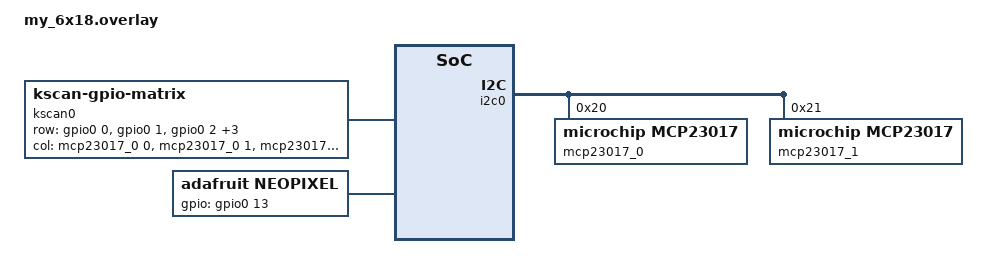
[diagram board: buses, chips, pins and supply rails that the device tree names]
/ {
    compatible = "zmk,keyboard-shield";

    chosen {
        zmk,kscan = &kscan0;
        zmk,backlight = &neopixel0;   /* ให้ ZMK รู้จัก node ไฟ */
    };

    /* สแกนเมทริกซ์คีย์บอร์ด 6x18 */
    kscan0: kscan {
        compatible = "zmk,kscan-gpio-matrix";
        diode-direction = "col2row";

        /* 6 แถวจาก GPIO ของ MCU (ตัวอย่างใช้ P0.00–P0.05) */
        row-gpios = <&gpio0 0 (GPIO_ACTIVE_HIGH | GPIO_PULL_DOWN)>,
                    <&gpio0 1 (GPIO_ACTIVE_HIGH | GPIO_PULL_DOWN)>,
                    <&gpio0 2 (GPIO_ACTIVE_HIGH | GPIO_PULL_DOWN)>,
                    <&gpio0 3 (GPIO_ACTIVE_HIGH | GPIO_PULL_DOWN)>,
                    <&gpio0 4 (GPIO_ACTIVE_HIGH | GPIO_PULL_DOWN)>,
                    <&gpio0 5 (GPIO_ACTIVE_HIGH | GPIO_PULL_DOWN)>;

        /* 18 คอลัมน์จาก MCP23017 สองตัว */
        col-gpios =
            /* MCP0: 16 ขา */
            <&mcp23017_0 0 GPIO_ACTIVE_HIGH>,
            <&mcp23017_0 1 GPIO_ACTIVE_HIGH>,
            <&mcp23017_0 2 GPIO_ACTIVE_HIGH>,
            <&mcp23017_0 3 GPIO_ACTIVE_HIGH>,
            <&mcp23017_0 4 GPIO_ACTIVE_HIGH>,
            <&mcp23017_0 5 GPIO_ACTIVE_HIGH>,
            <&mcp23017_0 6 GPIO_ACTIVE_HIGH>,
            <&mcp23017_0 7 GPIO_ACTIVE_HIGH>,
            <&mcp23017_0 8 GPIO_ACTIVE_HIGH>,
            <&mcp23017_0 9 GPIO_ACTIVE_HIGH>,
            <&mcp23017_0 10 GPIO_ACTIVE_HIGH>,
            <&mcp23017_0 11 GPIO_ACTIVE_HIGH>,
            <&mcp23017_0 12 GPIO_ACTIVE_HIGH>,
            <&mcp23017_0 13 GPIO_ACTIVE_HIGH>,
            <&mcp23017_0 14 GPIO_ACTIVE_HIGH>,
            <&mcp23017_0 15 GPIO_ACTIVE_HIGH>,

            /* MCP1: ใช้เพิ่มอีก 2 ขา (ครบ 18) */
            <&mcp23017_1 0 GPIO_ACTIVE_HIGH>,
            <&mcp23017_1 1 GPIO_ACTIVE_HIGH>;
    };

    /* Node สำหรับไฟ WS2812 (per-key RGB) */
    neopixel0: neopixel {
        compatible = "adafruit,neopixel";
        gpios = <&gpio0 13 GPIO_ACTIVE_HIGH>;  /* ขา data out ไป LED chain */
        #led-cells = <1>;
        label = "NEOPIXEL";
        status = "okay";
        count = <108>;   /* จำนวน LED ตามปุ่ม */
    };
};

/* MCP23017 I/O expander บน I2C */
&i2c0 {
    status = "okay";

    mcp23017_0: mcp23017@20 {
        compatible = "microchip,mcp23017";
        reg = <0x20>;
        gpio-controller;
        #gpio-cells = <2>;
    };

    mcp23017_1: mcp23017@21 {
        compatible = "microchip,mcp23017";
        reg = <0x21>;
        gpio-controller;
        #gpio-cells = <2>;
    };
};
